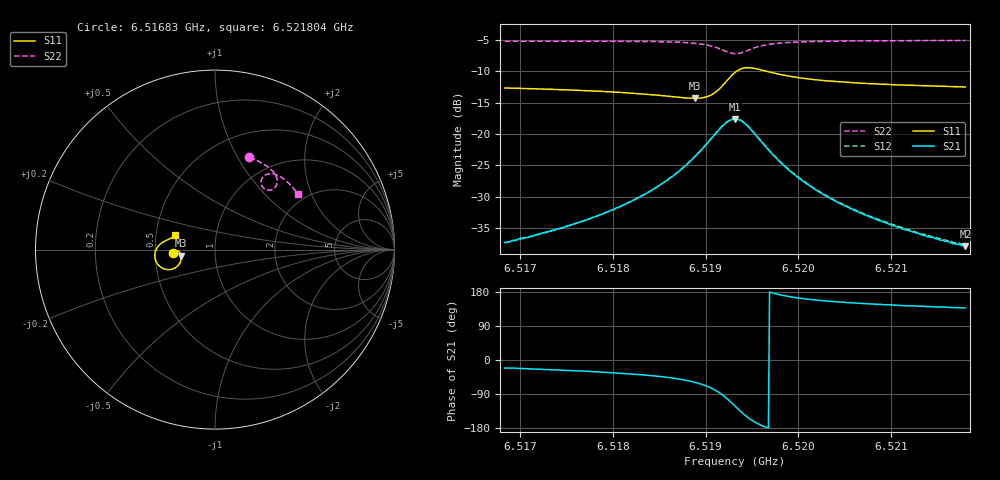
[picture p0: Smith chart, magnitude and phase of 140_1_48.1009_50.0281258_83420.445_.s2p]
#  HZ  S  RI  R  50.00
! Rohde & Schwarz Vector Network Analyzer
! Rohde-Schwarz,ZNB20-2Port,1311601062101988,3.16
! Created: UTC 12/23/2023, 3:48:39 AM
! freq[Hz]  re:S11  im:S11  re:S21  im:S21  re:S12  im:S12  re:S22  im:S22
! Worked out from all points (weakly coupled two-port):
!   401 points, 6.51683 GHz to 6.521804 GHz, reference 50 ohm
!   highest |S21| = -17.62 dB at 6.519317 GHz (marker M1); lowest = -37.9 dB at 6.521804 GHz (marker M2)
!   lowest |S11| = -14.3 dB at 6.518882 GHz (marker M3), VSWR 1.48, Z = 34 - j2.42 ohm
!   |S11| at or under -10 dB: start of sweep to 6.519335 GHz; 6.519654 GHz to end of sweep
!   |S22| runs from -7.2 to -5.1 dB; largest |S21 - S12| = 0.0042
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6.5168304e9  -0.2317 -0.0203  0.0127 -0.00497  0.0129 -0.00445  0.1912 0.5134
6.5173153e9  -0.2265 -0.013  0.0151 -0.00722  0.0152 -0.00666  0.227 0.4992
6.5176634e9  -0.2218 -0.00877  0.0175 -0.0098  0.0177 -0.00919  0.2529 0.4868
6.5180862e9  -0.2139 -0.00593  0.0217 -0.0152  0.0222 -0.0146  0.2847 0.4679
6.51831e9  -0.2085 -0.00668  0.0249 -0.0201  0.0256 -0.0195  0.3017 0.4554
6.5184965e9  -0.2027 -0.00965  0.028 -0.0266  0.029 -0.0257  0.3161 0.4428
6.5186954e9  -0.1955 -0.0176  0.0319 -0.0376  0.0333 -0.0366  0.3316 0.425
6.5188819e9  -0.1891 -0.0343  0.0339 -0.0559  0.0358 -0.0552  0.3439 0.4009
6.5189938e9  -0.1887 -0.0527  0.0312 -0.0741  0.0336 -0.0737  0.3469 0.3803
6.5190808e9  -0.1953 -0.0734  0.0219 -0.0928  0.0248 -0.0928  0.3428 0.3604
6.5192176e9  -0.2357 -0.1078  -0.0195 -0.1203  -0.016 -0.1219  0.3123 0.3326
6.5193171e9  -0.2908 -0.1044  -0.069 -0.112  -0.066 -0.1149  0.2747 0.3389
6.5193792e9  -0.3194 -0.0814  -0.0918 -0.0887  -0.0899 -0.092  0.2593 0.3584
6.5194414e9  -0.3335 -0.0507  -0.1009 -0.0607  -0.0999 -0.0641  0.2566 0.3812
6.5195409e9  -0.3313 -0.0087  -0.0945 -0.025  -0.0946 -0.0281  0.2704 0.4079
6.5196528e9  -0.3159 0.0197  -0.0783 -0.00335  -0.0788 -0.00572  0.2928 0.4209
6.519889e9  -0.2864 0.0441  -0.051 0.0109  -0.0519 0.00963  0.3313 0.4209
6.5201501e9  -0.2667 0.0535  -0.0349 0.0132  -0.0355 0.0124  0.3598 0.409
6.5205604e9  -0.2493 0.0613  -0.0222 0.0121  -0.0229 0.0118  0.3925 0.386
6.5209831e9  -0.2382 0.0676  -0.0156 0.0107  -0.0163 0.0105  0.4192 0.3611
6.5213686e9  -0.2305 0.073  -0.012 0.00969  -0.0127 0.00957  0.4401 0.3379
6.5218038e9  -0.2233 0.0789  -0.00939 0.00857  -0.00971 0.00859  0.4613 0.3109
